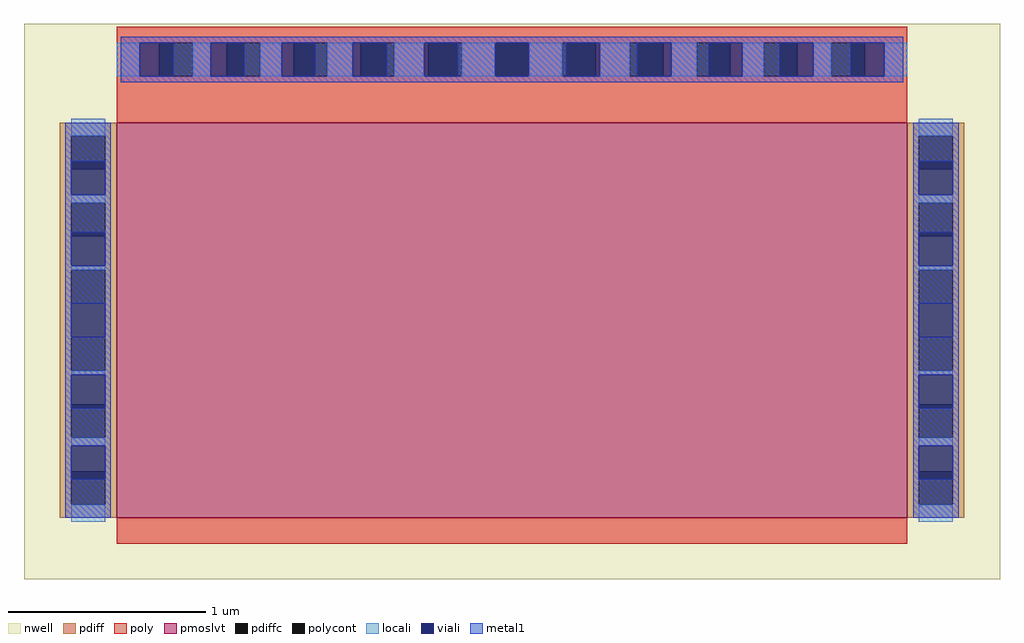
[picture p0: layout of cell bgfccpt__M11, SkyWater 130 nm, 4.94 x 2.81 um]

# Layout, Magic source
magic
tech sky130A
magscale 1 2
<< nwell >>
rect -494 -298 494 264
<< pmoslvt >>
rect -400 -236 400 164
<< pdiff >>
rect -458 151 -400 164
rect -458 117 -446 151
rect -412 117 -400 151
rect -458 83 -400 117
rect -458 49 -446 83
rect -412 49 -400 83
rect -458 15 -400 49
rect -458 -19 -446 15
rect -412 -19 -400 15
rect -458 -53 -400 -19
rect -458 -87 -446 -53
rect -412 -87 -400 -53
rect -458 -121 -400 -87
rect -458 -155 -446 -121
rect -412 -155 -400 -121
rect -458 -189 -400 -155
rect -458 -223 -446 -189
rect -412 -223 -400 -189
rect -458 -236 -400 -223
rect 400 151 458 164
rect 400 117 412 151
rect 446 117 458 151
rect 400 83 458 117
rect 400 49 412 83
rect 446 49 458 83
rect 400 15 458 49
rect 400 -19 412 15
rect 446 -19 458 15
rect 400 -53 458 -19
rect 400 -87 412 -53
rect 446 -87 458 -53
rect 400 -121 458 -87
rect 400 -155 412 -121
rect 446 -155 458 -121
rect 400 -189 458 -155
rect 400 -223 412 -189
rect 446 -223 458 -189
rect 400 -236 458 -223
<< pdiffc >>
rect -446 117 -412 151
rect -446 49 -412 83
rect -446 -19 -412 15
rect -446 -87 -412 -53
rect -446 -155 -412 -121
rect -446 -223 -412 -189
rect 412 117 446 151
rect 412 49 446 83
rect 412 -19 446 15
rect 412 -87 446 -53
rect 412 -155 446 -121
rect 412 -223 446 -189
<< poly >>
rect -400 245 400 261
rect -400 211 -357 245
rect -323 211 -289 245
rect -255 211 -221 245
rect -187 211 -153 245
rect -119 211 -85 245
rect -51 211 -17 245
rect 17 211 51 245
rect 85 211 119 245
rect 153 211 187 245
rect 221 211 255 245
rect 289 211 323 245
rect 357 211 400 245
rect -400 164 400 211
rect -400 -262 400 -236
<< polycont >>
rect -357 211 -323 245
rect -289 211 -255 245
rect -221 211 -187 245
rect -153 211 -119 245
rect -85 211 -51 245
rect -17 211 17 245
rect 51 211 85 245
rect 119 211 153 245
rect 187 211 221 245
rect 255 211 289 245
rect 323 211 357 245
<< locali >>
rect -400 211 -377 245
rect -323 211 -305 245
rect -255 211 -233 245
rect -187 211 -161 245
rect -119 211 -89 245
rect -51 211 -17 245
rect 17 211 51 245
rect 89 211 119 245
rect 161 211 187 245
rect 233 211 255 245
rect 305 211 323 245
rect 377 211 400 245
rect -446 151 -412 168
rect -446 83 -412 91
rect -446 15 -412 19
rect -446 -91 -412 -87
rect -446 -163 -412 -155
rect -446 -240 -412 -223
rect 412 151 446 168
rect 412 83 446 91
rect 412 15 446 19
rect 412 -91 446 -87
rect 412 -163 446 -155
rect 412 -240 446 -223
<< viali >>
rect -377 211 -357 245
rect -357 211 -343 245
rect -305 211 -289 245
rect -289 211 -271 245
rect -233 211 -221 245
rect -221 211 -199 245
rect -161 211 -153 245
rect -153 211 -127 245
rect -89 211 -85 245
rect -85 211 -55 245
rect -17 211 17 245
rect 55 211 85 245
rect 85 211 89 245
rect 127 211 153 245
rect 153 211 161 245
rect 199 211 221 245
rect 221 211 233 245
rect 271 211 289 245
rect 289 211 305 245
rect 343 211 357 245
rect 357 211 377 245
rect -446 117 -412 125
rect -446 91 -412 117
rect -446 49 -412 53
rect -446 19 -412 49
rect -446 -53 -412 -19
rect -446 -121 -412 -91
rect -446 -125 -412 -121
rect -446 -189 -412 -163
rect -446 -197 -412 -189
rect 412 117 446 125
rect 412 91 446 117
rect 412 49 446 53
rect 412 19 446 49
rect 412 -53 446 -19
rect 412 -121 446 -91
rect 412 -125 446 -121
rect 412 -189 446 -163
rect 412 -197 446 -189
<< metal1 >>
rect -396 245 396 251
rect -396 211 -377 245
rect -343 211 -305 245
rect -271 211 -233 245
rect -199 211 -161 245
rect -127 211 -89 245
rect -55 211 -17 245
rect 17 211 55 245
rect 89 211 127 245
rect 161 211 199 245
rect 233 211 271 245
rect 305 211 343 245
rect 377 211 396 245
rect -396 205 396 211
rect -452 125 -406 164
rect -452 91 -446 125
rect -412 91 -406 125
rect -452 53 -406 91
rect -452 19 -446 53
rect -412 19 -406 53
rect -452 -19 -406 19
rect -452 -53 -446 -19
rect -412 -53 -406 -19
rect -452 -91 -406 -53
rect -452 -125 -446 -91
rect -412 -125 -406 -91
rect -452 -163 -406 -125
rect -452 -197 -446 -163
rect -412 -197 -406 -163
rect -452 -236 -406 -197
rect 406 125 452 164
rect 406 91 412 125
rect 446 91 452 125
rect 406 53 452 91
rect 406 19 412 53
rect 446 19 452 53
rect 406 -19 452 19
rect 406 -53 412 -19
rect 446 -53 452 -19
rect 406 -91 452 -53
rect 406 -125 412 -91
rect 446 -125 452 -91
rect 406 -163 452 -125
rect 406 -197 412 -163
rect 446 -197 452 -163
rect 406 -236 452 -197
<< end >>
